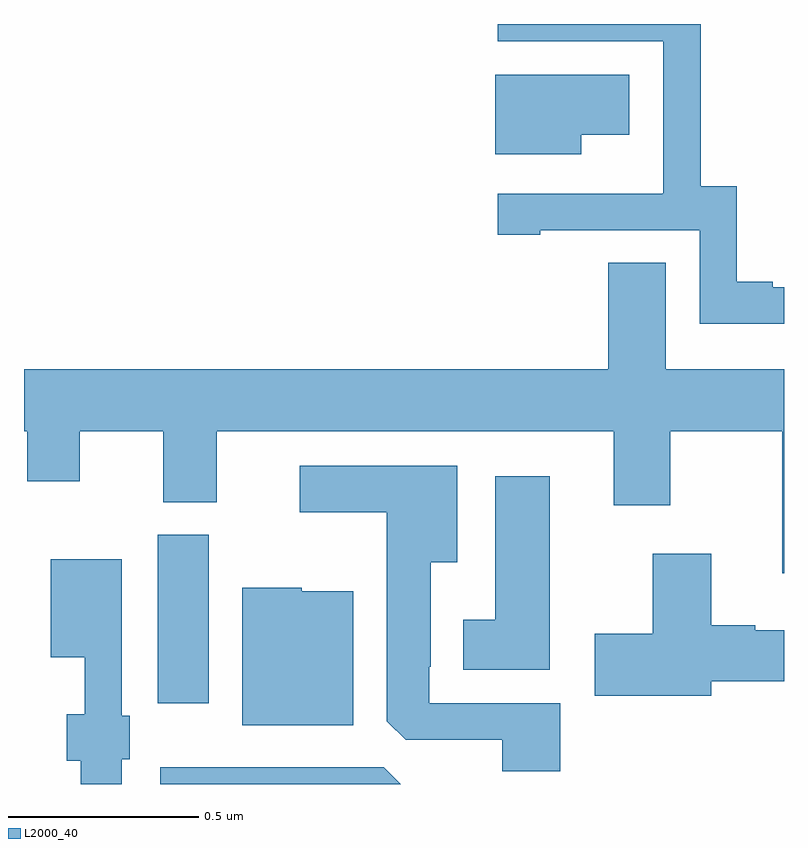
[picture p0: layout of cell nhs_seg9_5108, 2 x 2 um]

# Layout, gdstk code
import gdstk
lib = gdstk.Library(unit=1e-6, precision=1e-09)
def R(c, l, rs):  # rectangles x0, y0, x1, y1
    for r in rs: c.add(gdstk.rectangle(r[:2], r[2:], *l))
def P(c, l, *ps):  # polygons
    for p in ps: c.add(gdstk.Polygon(p, *l))
L2000_40 = (2000, 40)

nhs_seg9_5108 = lib.new_cell('nhs_seg9_5108')
R(nhs_seg9_5108, L2000_40, [(175.352,1187.712,175.486,1188.156)])
P(nhs_seg9_5108, L2000_40, [(177,1188.807),(176.971,1188.807),(176.971,1188.822),(176.875,1188.822),(176.875,1189.073),(176.781,1189.073),(176.781,1189.5),(176.247,1189.5),(176.247,1189.455),(176.682,1189.455),(176.682,1189.054),(176.681,1189.054),(176.681,1189.053),(176.247,1189.053),(176.247,1188.945),(176.359,1188.945),(176.359,1188.957),(176.778,1188.957),(176.778,1188.711),(177,1188.711)],
  [(176.467,1189.208),(176.593,1189.208),(176.593,1189.366),(176.24,1189.366),(176.24,1189.157),(176.467,1189.157)],
  [(177,1188.592),(176.689,1188.592),(176.689,1188.872),(176.537,1188.872),(176.537,1188.592),(175,1188.592),(175,1188.428),(175.008,1188.428),(175.008,1188.297),(175.147,1188.297),(175.147,1188.428),(175.367,1188.428),(175.367,1188.241),(175.507,1188.241),(175.507,1188.428),(176.552,1188.428),(176.552,1188.234),(176.7,1188.234),(176.7,1188.428),(176.996,1188.428),(176.996,1188.054),(177,1188.054)],
  [(176.411,1187.712),(176.067,1187.712),(176.067,1187.809),(176.071,1187.809),(176.071,1188.083),(176.14,1188.083),(176.14,1188.337),(175.725,1188.337),(175.725,1188.215),(175.955,1188.215),(175.955,1187.665),(176.004,1187.616),(176.258,1187.616),(176.258,1187.533),(176.411,1187.533)],
  [(176.383,1188.31),(176.24,1188.31),(176.24,1187.932),(176.156,1187.932),(176.156,1187.801),(176.383,1187.801)],
  [(176.809,1187.771),(177,1187.771),(177,1187.905),(176.924,1187.905),(176.924,1187.918),(176.809,1187.918),(176.809,1188.106),(176.654,1188.106),(176.654,1187.895),(176.502,1187.895),(176.502,1187.732),(176.809,1187.732)],
  [(175.257,1187.565),(175.278,1187.565),(175.278,1187.679),(175.257,1187.679),(175.257,1188.091),(175.07,1188.091),(175.07,1187.834),(175.16,1187.834),(175.16,1187.683),(175.112,1187.683),(175.112,1187.561),(175.149,1187.561),(175.149,1187.5),(175.257,1187.5)],
  [(175.867,1188.007),(175.731,1188.007),(175.731,1188.016),(175.574,1188.016),(175.574,1187.654),(175.867,1187.654)],
  [(175.947,1187.544),(175.359,1187.544),(175.359,1187.5),(175.991,1187.5)])

lib.write_gds('nhs_seg9_5108.gds')
